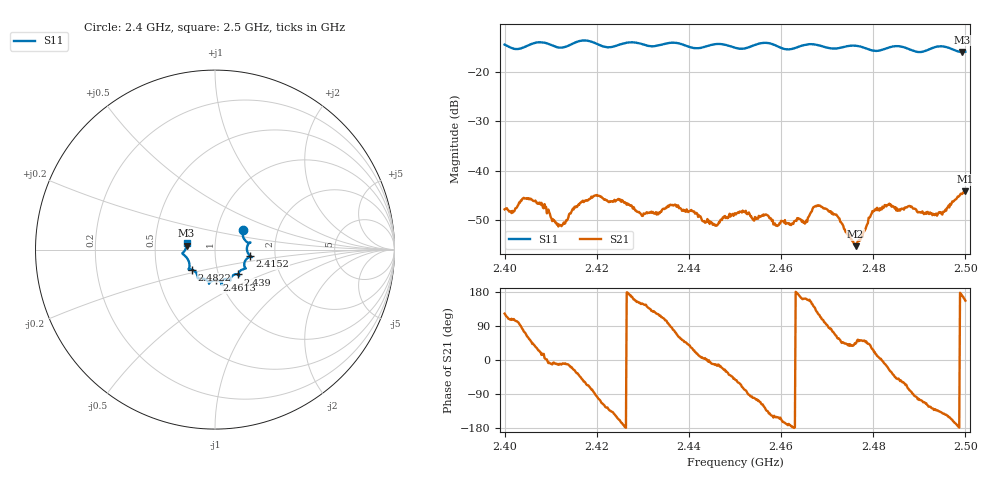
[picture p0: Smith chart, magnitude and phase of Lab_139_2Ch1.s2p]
# Hz S RI R 50
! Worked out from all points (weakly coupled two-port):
!   601 points, 2.4 GHz to 2.5 GHz, reference 50 ohm
!   highest |S21| = -44.20 dB at 2.5 GHz (marker M1); lowest = -55.4 dB at 2.4762 GHz (marker M2)
!   lowest |S11| = -15.9 dB at 2.4993 GHz (marker M3), VSWR 1.38, Z = 36.3 + j1.63 ohm
!   |S11| at or under -10 dB: start of sweep to end of sweep
!   S12 and S22 are empty: the file has one direction only
!   S11 on the Smith chart (normalised r, x): 2.4 GHz: 1.33, +0.30; 2.4152 GHz: 1.48, -0.11; 2.439 GHz: 1.24, -0.36; 2.4613 GHz: 0.96, -0.34; 2.4822 GHz: 0.76, -0.17; 2.5 GHz: 0.73, +0.05
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2.4e9  0.1556 0.1106  -0.00216 0.0034  0 0  0 0
2.4055e9  0.1868 0.0377  0.00302 0.0041  0 0  0 0
2.412167e9  0.1775 0.00403  0.00273 -0.000525  0 0  0 0
2.415167e9  0.1955 -0.0362  0.00382 -0.00193  0 0  0 0
2.416667e9  0.2051 -0.0424  0.00319 -0.00361  0 0  0 0
2.420167e9  0.1882 -0.0429  -0.00084 -0.00545  0 0  0 0
2.433333e9  0.1321 -0.1326  -0.00185 0.00307  0 0  0 0
2.4365e9  0.1347 -0.1473  0.000741 0.00442  0 0  0 0
2.439e9  0.1278 -0.1387  0.00262 0.00286  0 0  0 0
2.445667e9  0.0849 -0.1729  0.00269 -0.000612  0 0  0 0
2.45e9  0.0686 -0.1636  0.0023 -0.00289  0 0  0 0
2.461333e9  0.0074 -0.1703  -0.00289 -0.000475  0 0  0 0
2.465167e9  -0.0326 -0.1869  -0.00274 0.000904  0 0  0 0
2.466667e9  -0.0332 -0.1898  -0.00327 0.00202  0 0  0 0
2.472e9  -0.0656 -0.1615  0.00158 0.0032  0 0  0 0
2.476167e9  -0.0944 -0.1602  0.00124 0.00117  0 0  0 0
2.48e9  -0.1067 -0.1268  0.00341 0.00175  0 0  0 0
2.482167e9  -0.128 -0.112  0.00414 -0.000352  0 0  0 0
2.483333e9  -0.1395 -0.1104  0.0041 -0.00178  0 0  0 0
2.493333e9  -0.1776 -0.0257  -0.00229 -0.00267  0 0  0 0
2.499333e9  -0.1586 0.0219  -0.00567 0.00117  0 0  0 0
2.5e9  -0.158 0.034  -0.00566 0.00245  0 0  0 0
